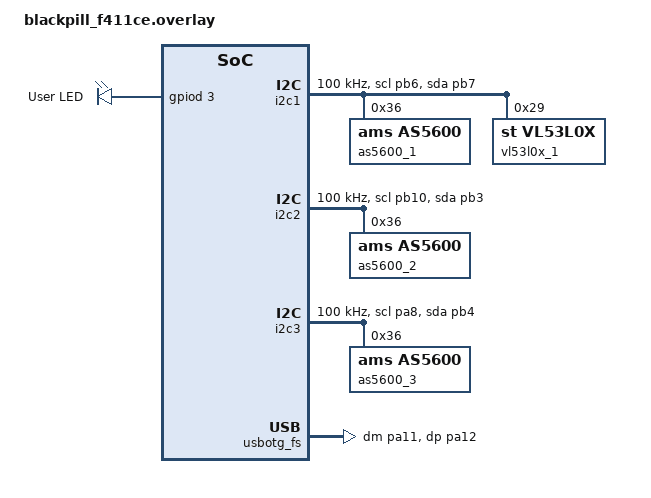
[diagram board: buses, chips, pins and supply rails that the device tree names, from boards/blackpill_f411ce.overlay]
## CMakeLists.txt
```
# SPDX-License-Identifier: Apache-2.0

cmake_minimum_required(VERSION 3.20.0)

# Point to the pre-built libmicroros from micro_ros_zephyr_module
set(LIBMICROROS_DIR /home/naj/zephyrproject/micro_ros_zephyr_module/modules/libmicroros)

list(APPEND ZEPHYR_EXTRA_MODULES ${LIBMICROROS_DIR})

find_package(Zephyr REQUIRED HINTS $ENV{ZEPHYR_BASE})
project(as5600_vl53l0x_publisher)

target_sources(app PRIVATE src/main.c )
```

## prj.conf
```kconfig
CONFIG_GPIO=y
CONFIG_I2C=y
CONFIG_I2C_STM32=y

CONFIG_SENSOR=y
CONFIG_AMS_AS5600=y
CONFIG_VL53L0X=y

CONFIG_MICROROS=y
CONFIG_CPP=y

CONFIG_MAIN_STACK_SIZE=25000
CONFIG_MAIN_THREAD_PRIORITY=3

CONFIG_NEWLIB_LIBC=y
CONFIG_NEWLIB_LIBC_FLOAT_PRINTF=n

CONFIG_STDOUT_CONSOLE=y
CONFIG_LOG=y
CONFIG_SERIAL=y
CONFIG_UART_INTERRUPT_DRIVEN=y
CONFIG_UART_LINE_CTRL=y

CONFIG_POSIX_API=y
CONFIG_POSIX_TIMERS=y
CONFIG_POSIX_CLOCK_SELECTION=y
CONFIG_POSIX_MONOTONIC_CLOCK=y
CONFIG_NEWLIB_LIBC=y
CONFIG_NEWLIB_LIBC_FLOAT_PRINTF=y

CONFIG_HEAP_MEM_POOL_SIZE=16384

# USB CDC ACM configuration
CONFIG_USB_DEVICE_STACK=y
CONFIG_USB_DEVICE_PRODUCT="STM32 CDC"
CONFIG_USB_DEVICE_VID=0x0483
CONFIG_USB_DEVICE_PID=0x5740
CONFIG_USB_CDC_ACM=y
CONFIG_USB_CDC_ACM_RINGBUF_SIZE=256

# Console
CONFIG_CONSOLE=y
CONFIG_UART_CONSOLE=y
CONFIG_MICROROS_TRANSPORT_SERIAL_USB=y
```

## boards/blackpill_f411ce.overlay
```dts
/*
 * Device tree overlay for STM32F411 Black Pill with 3 AS5600 encoders and VL53L0X ToF sensor
 * for micro-ROS as5600_vl53l0x_publisher application using USB CDC ACM
 */

&gpiod {
    status = "okay";
};

&i2c1 {
    status = "okay";
    pinctrl-0 = <&i2c1_scl_pb6 &i2c1_sda_pb7>;
    pinctrl-names = "default";
    clock-frequency = <100000>;

    as5600_1: as5600@36 {
        compatible = "ams,as5600";
        status = "okay";
        reg = <0x36>;
    };

    vl53l0x_1: vl53l0x@29 {
        compatible = "st,vl53l0x";
        status = "okay";
        reg = <0x29>;
    };
};

&i2c2 {
    pinctrl-0 = <&i2c2_scl_pb10 &i2c2_sda_pb3>;
    pinctrl-names = "default";
    status = "okay";
    clock-frequency = <100000>;

    as5600_2: as5600@36 {
        compatible = "ams,as5600";
        status = "okay";
        reg = <0x36>;
    };
};

&i2c3 {
    pinctrl-0 = <&i2c3_scl_pa8 &i2c3_sda_pb4>;
    pinctrl-names = "default";
    status = "okay";
    clock-frequency = <100000>;

    as5600_3: as5600@36 {
        compatible = "ams,as5600";
        status = "okay";
        reg = <0x36>;
    };
};

/ {
    chosen {
        zephyr,console = &cdc_acm_uart0;
        zephyr,shell-uart = &cdc_acm_uart0;
    };

    aliases {
        led0 = &led0;
    };

    leds {
        compatible = "gpio-leds";
        status = "okay";
        led0: led_0 {
            gpios = <&gpiod 3 GPIO_ACTIVE_HIGH>;
            label = "User LED";
        };
    };
};

&usbotg_fs {
    pinctrl-0 = <&usb_otg_fs_dm_pa11 &usb_otg_fs_dp_pa12>;
    pinctrl-names = "default";
    status = "okay";
};

&usbotg_fs {
    cdc_acm_uart0: cdc_acm_uart0 {
        compatible = "zephyr,cdc-acm-uart";
        label = "CDC_ACM_0";
    };
};
```

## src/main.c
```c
#include <version.h>

#if ZEPHYR_VERSION_CODE >= ZEPHYR_VERSION(3,1,0)
#include <zephyr/kernel.h>
#include <zephyr/device.h>
#include <zephyr/devicetree.h>
#include <zephyr/drivers/gpio.h>
#include <zephyr/drivers/sensor.h>
#include <zephyr/posix/sys/time.h>
#include <zephyr/drivers/uart.h>
#include <zephyr/drivers/uart/cdc_acm.h>
#include <zephyr/logging/log.h>
LOG_MODULE_REGISTER(microros_main, LOG_LEVEL_DBG);
#include <zephyr/usb/usb_device.h>
#else
#include <zephyr.h>
#include <device.h>
#include <devicetree.h>
#include <drivers/gpio.h>
#include <drivers/sensor.h>
#include <posix/sys/time.h>
#endif

#include <rcl/rcl.h>
#include <rcl/error_handling.h>
#include <rclc/rclc.h>
#include <rclc/executor.h>

#include <rmw_microros/rmw_microros.h>
#include <microros_transports.h>

#include <std_msgs/msg/float32.h>

#include <stdio.h>
#include <string.h>
#include <stdlib.h>

#define RCCHECK(fn) { rcl_ret_t temp_rc = fn; if((temp_rc != RCL_RET_OK)){printf("Failed status on line %d: %d. Aborting.\n",__LINE__,(int)temp_rc); for(;;){} }}
#define RCSOFTCHECK(fn) { rcl_ret_t temp_rc = fn; if((temp_rc != RCL_RET_OK)){printf("Failed status on line %d: %d. Continuing.\n",__LINE__,(int)temp_rc);}}

#define AS5600_1 DT_NODELABEL(as5600_1)
#define AS5600_2 DT_NODELABEL(as5600_2)
#define AS5600_3 DT_NODELABEL(as5600_3)
#define VL53L0X_1 DT_NODELABEL(vl53l0x_1)

#define PIN	DT_GPIO_PIN(DT_ALIAS(led0), gpios)

static const struct device *led;

static struct sensor_value encoder1_angle;
static struct sensor_value encoder2_angle;
static struct sensor_value encoder3_angle;

rcl_publisher_t angle_publisher[3];
rcl_publisher_t tof_publisher;
std_msgs__msg__Float32 angle_msg[3];
std_msgs__msg__Float32 tof_msg;

void angle_timer_callback(rcl_timer_t * timer, int64_t last_call_time)
{
	(void) last_call_time;

	if (timer != NULL) {
		const struct device *as5600_1_dev = DEVICE_DT_GET(AS5600_1);
		const struct device *as5600_2_dev = DEVICE_DT_GET(AS5600_2);
		const struct device *as5600_3_dev = DEVICE_DT_GET(AS5600_3);

		sensor_sample_fetch(as5600_1_dev);
		sensor_channel_get(as5600_1_dev, SENSOR_CHAN_ROTATION, &encoder1_angle);

		sensor_sample_fetch(as5600_2_dev);
		sensor_channel_get(as5600_2_dev, SENSOR_CHAN_ROTATION, &encoder2_angle);

		sensor_sample_fetch(as5600_3_dev);
		sensor_channel_get(as5600_3_dev, SENSOR_CHAN_ROTATION, &encoder3_angle);

		float enc1 = (float)encoder1_angle.val1 + (float)encoder1_angle.val2 / 1000000.0f;
		float enc2 = (float)encoder2_angle.val1 + (float)encoder2_angle.val2 / 1000000.0f;
		float enc3 = (float)encoder3_angle.val1 + (float)encoder3_angle.val2 / 1000000.0f;

		angle_msg[0].data = enc1;
		angle_msg[1].data = enc2;
		angle_msg[2].data = enc3;

		RCSOFTCHECK(rcl_publish(&angle_publisher[0], (const void*)&angle_msg[0], NULL));
		RCSOFTCHECK(rcl_publish(&angle_publisher[1], (const void*)&angle_msg[1], NULL));
		RCSOFTCHECK(rcl_publish(&angle_publisher[2], (const void*)&angle_msg[2], NULL));
		printf("Published encoder1 angle: %.2f\n", enc1);
		printf("Published encoder2 angle: %.2f\n", enc2);
		printf("Published encoder3 angle: %.2f\n", enc3);
	}
}

void tof_timer_callback(rcl_timer_t * timer, int64_t last_call_time)
{
	(void) last_call_time;

	if (timer != NULL) {
		const struct device *vl53l0x_1_dev = DEVICE_DT_GET(VL53L0X_1);

		struct sensor_value value;
		float distance = 0.0f;

		if (vl53l0x_1_dev != NULL && device_is_ready(vl53l0x_1_dev)) {
			sensor_sample_fetch(vl53l0x_1_dev);
			sensor_channel_get(vl53l0x_1_dev, SENSOR_CHAN_DISTANCE, &value);
			distance = (float)value.val1 + (float)value.val2 / 1000.0f;
		}

		tof_msg.data = distance;

		RCSOFTCHECK(rcl_publish(&tof_publisher, (const void*)&tof_msg, NULL));
		printf("Published TOF distance: %.2f mm\n", distance);
	}
}

int main(void)
{
	rmw_uros_set_custom_transport(
		MICRO_ROS_FRAMING_REQUIRED,
		(void *) &default_params,
		zephyr_transport_open,
		zephyr_transport_close,
		zephyr_transport_write,
		zephyr_transport_read
	);

#ifdef DT_ALIAS_led0_PRESENT
	led = DEVICE_DT_GET(DT_GPIO_CTLR(DT_ALIAS(led0), gpios));
	if (device_is_ready(led)) {
		gpio_pin_configure(led, PIN, GPIO_OUTPUT_ACTIVE);
	}
#endif

	rcl_allocator_t allocator = rcl_get_default_allocator();
	rclc_support_t support;

	RCCHECK(rclc_support_init(&support, 0, NULL, &allocator));

	rcl_node_t node;
	RCCHECK(rclc_node_init_default(&node, "as5600_vl53l0x_publisher_node", "", &support));

	RCCHECK(rclc_publisher_init_default(&angle_publisher[0], &node, ROSIDL_GET_MSG_TYPE_SUPPORT(std_msgs, msg, Float32), "/encoder1/angle"));
	RCCHECK(rclc_publisher_init_default(&angle_publisher[1], &node, ROSIDL_GET_MSG_TYPE_SUPPORT(std_msgs, msg, Float32), "/encoder2/angle"));
	RCCHECK(rclc_publisher_init_default(&angle_publisher[2], &node, ROSIDL_GET_MSG_TYPE_SUPPORT(std_msgs, msg, Float32), "/encoder3/angle"));
	RCCHECK(rclc_publisher_init_default(&tof_publisher, &node, ROSIDL_GET_MSG_TYPE_SUPPORT(std_msgs, msg, Float32), "/tof/distance"));
	LOG_INF("Starting AS5600 and VL53L0X publisher application...");

	rcl_timer_t angle_timer;
	RCCHECK(rclc_timer_init_default(&angle_timer, &support, RCL_MS_TO_NS(1000), angle_timer_callback));

	rcl_timer_t tof_timer;
	RCCHECK(rclc_timer_init_default2(&tof_timer, &support, RCL_MS_TO_NS(100), tof_timer_callback, true));

	rclc_executor_t executor = rclc_executor_get_zero_initialized_executor();
	RCCHECK(rclc_executor_init(&executor, &support.context, 2, &allocator));
	RCCHECK(rclc_executor_add_timer(&executor, &angle_timer));
	RCCHECK(rclc_executor_add_timer(&executor, &tof_timer));

	rclc_executor_spin(&executor);

	for (int i = 0; i < 3; i++) {
		RCCHECK(rcl_publisher_fini(&angle_publisher[i], &node));
	}
	RCCHECK(rcl_publisher_fini(&tof_publisher, &node));
	RCCHECK(rcl_node_fini(&node));

	return 0;
}
```
